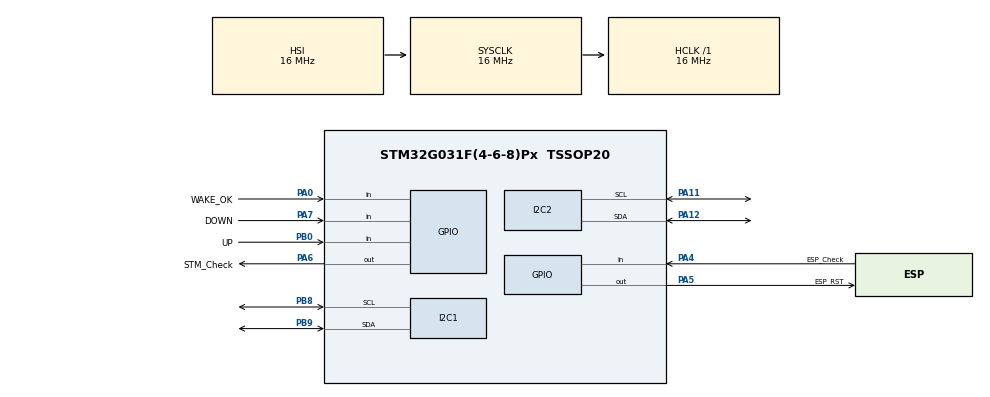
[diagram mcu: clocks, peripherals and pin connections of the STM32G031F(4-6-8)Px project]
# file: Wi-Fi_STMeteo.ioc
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I2C1.Timing=0x00503D58
I2C2.Timing=0x00503D58
Mcu.Family=STM32G0
Mcu.Name=STM32G031F(4-6-8)Px
Mcu.Package=TSSOP20
PA0.GPIO_Label=WAKE_OK
PA0.GPIO_PuPd=GPIO_PULLUP
PA0.Signal=GPIO_Input
PA11\ [PA9].GPIO_Speed=GPIO_SPEED_FREQ_HIGH
PA11\ [PA9].Mode=I2C
PA11\ [PA9].Signal=I2C2_SCL
PA12\ [PA10].GPIO_Speed=GPIO_SPEED_FREQ_HIGH
PA12\ [PA10].Mode=I2C
PA12\ [PA10].Signal=I2C2_SDA
PA13.Mode=Serial_Wire
PA13.Signal=SYS_SWDIO
PA14-BOOT0.Mode=Serial_Wire
PA14-BOOT0.Signal=SYS_SWCLK
PA14-BOOT0__PA15.StandardMode=true
PA4.GPIO_Label=ESP_Check
PA4.GPIO_PuPd=GPIO_PULLDOWN
PA4.Signal=GPIO_Input
PA5.GPIO_Label=ESP_RST
PA5.GPIO_ModeDefaultOutputPP=GPIO_MODE_OUTPUT_PP
PA5.GPIO_PuPd=GPIO_PULLDOWN
PA5.GPIO_Speed=GPIO_SPEED_FREQ_VERY_HIGH
PA5.Signal=GPIO_Output
PA6.GPIO_Label=STM_Check
PA6.GPIO_Speed=GPIO_SPEED_FREQ_VERY_HIGH
PA6.Signal=GPIO_Output
PA7.GPIO_Label=DOWN
PA7.GPIO_PuPd=GPIO_PULLUP
PA7.Signal=GPIO_Input
PB0.GPIO_Label=UP
PB0.GPIO_PuPd=GPIO_PULLUP
PB0.Signal=GPIO_Input
PB0__PB1__PB2__PA8.StandardMode=true
PB3__PB4__PB5__PB6.StandardMode=true
PB7__PB8.StandardMode=true
PB8.GPIO_Speed=GPIO_SPEED_FREQ_HIGH
PB8.Mode=I2C
PB8.Signal=I2C1_SCL
PB9.GPIO_Speed=GPIO_SPEED_FREQ_HIGH
PB9.Mode=I2C
PB9.Signal=I2C1_SDA
PC14-OSC32_IN\ (PC14)__PB9.StandardMode=true
ProjectManager.HeapSize=0x200
ProjectManager.StackSize=0x400
ProjectManager.TargetToolchain=STM32CubeIDE
RCC.ADCFreq_Value=16000000
RCC.AHBFreq_Value=16000000
RCC.CortexFreq_Value=16000000
RCC.EXTERNAL_CLOCK_VALUE=12288000
RCC.HCLKFreq_Value=16000000
RCC.HSE_VALUE=8000000
RCC.HSI_VALUE=16000000
RCC.LSE_VALUE=32768
RCC.PLLQ=RCC_PLLQ_DIV4
RCC.SYSCLKFreq_VALUE=16000000
RCC.VCOOutputFreq_Value=128000000
board=custom

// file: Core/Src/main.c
/* USER CODE BEGIN Header */
/**
 ******************************************************************************
 * @file           : main.c
 * @brief          : Main program body
 * @author		   : Morshu8800
 ******************************************************************************
 * @attention
 *
 * Copyright (c) 2025 STMicroelectronics.
 * All rights reserved.
 *
 * This software is licensed under terms that can be found in the LICENSE file
 * in the root directory of this software component.
 * If no LICENSE file comes with this software, it is provided AS-IS.
 *
 ******************************************************************************
 */
/* USER CODE END Header */
#include "main.h"

/* USER CODE BEGIN Includes */
#include <stdbool.h>
#include <string.h>
#include <strings.h>
#include <math.h>
#include "LCD1602.h"
#include "DS3231.h"
#include "sht3x.h"
#include "BMPXX80.h"
#include "rcc.h"
#include "uart.h"
#include "timers.h"

/* USER CODE END Includes */

I2C_HandleTypeDef hi2c1;
I2C_HandleTypeDef hi2c2;

/* USER CODE BEGIN PV */
uint32_t SystemCoreClock = 16000000UL;

/*const uint8_t Connect_online[8] = { 0x1C, 0x1C, 0x08, 0x0C, 0x0E, 0x0F, 0x0F,
 0x0F };

 const uint8_t Connect_offline[8] = { 0x1C, 0x1C, 0x08, 0x08, 0x08, 0x0D, 0x0A,
 0x0D };
 const uint8_t Connect_insettings[8] = { 0x1C, 0x1C, 0x0A, 0x0D, 0x09, 0x0A,
 0x08, 0x0A };
 const uint8_t Connect_restarting[8] = { 0x1C, 0x1C, 0x08, 0x08, 0x08, 0x0F,
 0x0D, 0x0F };*/
const uint8_t H[8] = { 0x1F, 0x1F, 0x1F, 0x00, 0x00, 0x00, 0x00, 0x00 };
const uint8_t L[8] = { 0x00, 0x00, 0x00, 0x00, 0x00, 0x1F, 0x1F, 0x1F };
const uint8_t LH[8] = { 0x1F, 0x1F, 0x00, 0x00, 0x00, 0x00, 0x1F, 0x1F };
const uint8_t Copyright[8] = { 0x0A, 0x11, 0x1D, 0x19, 0x19, 0x1D, 0x11, 0x0A };
bool connected = false, con_atempt = false, insettings =
false, con_rest = false, get_pres = false, get_temp = false, get_humi = false,
		get_all = false, change_dot = false, sleep = false, menu = false;

bool clear_flag = false, time_settings = false, hour_set = false, minute_set =
false, day_set = false, month_set = false, year_set = false, dow_set =
false, time_set = false, date_set = false, get_time = false;

bool led_flag = false, uart_flag = true, about = false, misc = false, wifi_on =
true;

char GET_COMAND[120] = { 0, }, DEB[120] = { 0, }, MES[120] = { 0, };
char *WEEK[7] = { "MONDAY", "TUESDAY", "WEDNESDAY", "THURSDAY", "FRIDAY",
		"SATURDAY", "SUNDAY" };
char *WEK[7] = { "MON", "TUE", "WED", "THU", "FRI", "SAT", "SUN" };
int_fast8_t menu_page = 0, main_page = 0, menu_pos = 0, time_pos = 0, date_pos =
		0, settings_pos = 0, about_pos = 0, misc_pos = 0;
uint32_t change_page_time = 0, Sleep_time = 0, button_time = 0, mes_time = 0,
		backl_time = 0, led_con_time = 0, led_connected_time = 0,
		close_men_time = 0, button_settings_time = 0, display_time = 0;
int_fast8_t Hour = 0, Minute = 0, Day = 1, Month = 1, Dow = 1;
int_fast16_t Year = 2000;
int_fast8_t newmin = -1;

sht3x_handle_t handle = { .i2c_handle = &hi2c2, .device_address =
SHT3X_I2C_DEVICE_ADDRESS_ADDR_PIN_LOW };
/* USER CODE END PV */

void SystemClock_Config(void);
static void MX_GPIO_Init(void);
static void MX_I2C1_Init(void);
static void MX_I2C2_Init(void);
/* USER CODE BEGIN PFP */
//extern void CMSIS_Clock_Config(void);
//extern void CMSIS_USART_Init(void);
//extern void CMSIS_TIM2_CH2_Init(void);
void Print_Time(void);
void Draw_Dig(uint_fast8_t x, uint_fast8_t y, uint_fast8_t dig);
void Check_Mes(void);
void Check_Con(void);
void Startup(void);
void Load_Clock_seg(void);
//void Load_Con_seg(void);
void Print_Date(void);
void Print_Meteo(void);
//void Sleep(void);
void Backlight_change(void);
void Controls(void);
void Display_menu(void);
void Menu_Controls(void);
void Display_Settings(void);
void Settings_Controls(void);
void Display_About(void);
void About_controls(void);
void Display_Misc(void);
void Misc_controls(void);
/* USER CODE END PFP */

/* USER CODE BEGIN 0 */
void Startup(void) {
	//HAL_TIM_PWM_Start(&htim3, TIM_CHANNEL_1);
	//TIM3->CCR1 = 256;
	TIM2->CCR2 = 64;
	TIM3->CCR1 = 256;
	//CMSIS_TIM2_CH2_PWM_Start();
	CMSIS_TIM3_CH1_PWM_Start();
	DS3231_Init(&hi2c1);
	HAL_Delay(100);
	DS3231_EnableOscillator(DS3231_ENABLED);
	if (!LCD_Connect_test()) {
		NVIC_SystemReset();
	}
	LCD_Init();
	LCD_Clear();
	LCD_CreateChar((uint8_t*) Copyright, 4);
	LCD_SetCursor(0, 0);
	LCD_PrintString("Wi-Fi STMeteo by");
	LCD_SetCursor(0, 1);
	LCD_PrintString("Morshu8800 ");
	LCD_PrintMyChar(4);
	LCD_PrintString("2025");
	HAL_Delay(2000);
	LCD_Clear();
	BMP280_Init(&hi2c2, BMP280_TEMPERATURE_16BIT, BMP280_HIGHRES,
	BMP280_FORCEDMODE);
	BMP280_SetConfig( BMP280_STANDBY_MS_125, BMP280_FILTER_X2);
	if (!sht3x_init(&handle)) {
		for (uint8_t i = 0; i < 5; i++) {
			if (sht3x_init(&handle))
				break;
			else {
				HAL_Delay(100);
				continue;
			}
		}
		if (!sht3x_init(&handle)) {
			while (1)
				NVIC_SystemReset();
		}
	}
	if (wifi_on)
		GPIOA->BSRR = GPIO_BSRR_BS5; //HAL_GPIO_WritePin(ESP_RST_GPIO_Port, ESP_RST_Pin, 1);
	GPIOA->BSRR = GPIO_BSRR_BS6; //HAL_GPIO_WritePin(stm_check_GPIO_Port, stm_check_Pin, 1);
	//Load_Con_seg();
	Load_Clock_seg();
	//HAL_UART_Receive_IT(&huart2, (uint8_t*) GET_COMAND, 1);
	/*HAL_UARTEx_ReceiveToIdle_IT(&huart2, (uint8_t*) GET_COMAND,
	 sizeof(GET_COMAND));*/
	HAL_Delay(1500);
	if (READ_BIT(GPIOA->IDR, GPIO_IDR_ID4) == 1) {
		sprintf(MES, "CONC;");
		//memcpy(DEB, MES, sizeof(DEB));
		uart_flag = CMSIS_USART_Transmit(USART2, (uint8_t*) MES, sizeof(MES),
				100);
//		HAL_UART_Transmit(&huart2, (uint8_t*) MES, sizeof(MES), 150);
		memset(MES, 0, sizeof(MES));
	}
}
void Print_Time(void) {
	static int_fast8_t second, newsec = -1, /*dig1, dig2, dig3, dig4,*/hour,
			minute;
	second = DS3231_GetSecond();
	if (newsec != second) {
		newsec = second;
		change_dot = !change_dot;
		hour = DS3231_GetHour();
		minute = DS3231_GetMinute();
		if (newmin != minute) {
			newmin = minute;
			Draw_Dig(0, 0, hour * 0.1);
			Draw_Dig(4, 0, hour % 10);
			Draw_Dig(9, 0, minute * 0.1);
			Draw_Dig(13, 0, minute % 10);
		}

		if (change_dot) {
			LCD_SetCursor(7, 1);
			LCD_SendByte(111, 1);
			LCD_SetCursor(8, 0);
			LCD_SendByte(111, 1);
		} else if (!change_dot) {
			LCD_SetCursor(7, 1);
			LCD_PrintString(" ");
			LCD_SetCursor(8, 0);
			LCD_PrintString(" ");
		}
		/*LCD1_CreateChar(UP, 1);
		 LCD1_CreateChar(UPHI, 2);
		 LCD1_CreateChar(UPDOWN, 3);
		 LCD1_CreateChar(FULL, 4);
		 LCD1_CreateChar(DOWNHI, 5);
		 LCD1_CreateChar(DOWN, 6);

		 LCD_CreateChar((uint8_t*) F, 4);
		 LCD_CreateChar((uint8_t*) LH, 5);
		 LCD_CreateChar((uint8_t*) H, 6);
		 LCD_CreateChar((uint8_t*) L, 7);*/
	}
}
void Draw_Dig(uint_fast8_t x, uint_fast8_t y, uint_fast8_t dig) {
	switch (dig) {
	case 0:
		LCD_SetCursor(x, y);
		LCD_SendByte(255, 1); //LCD_PrintMyChar(4);
		LCD_PrintMyChar(6);
		LCD_SendByte(255, 1); //LCD_PrintMyChar(4);
		LCD_SetCursor(x, y + 1);
		LCD_SendByte(255, 1); //LCD_PrintMyChar(4);
		LCD_PrintMyChar(7);
		LCD_SendByte(255, 1); //LCD_PrintMyChar(4);
		break;
	case 1:
		LCD_SetCursor(x, y);
		LCD_PrintMyChar(6);
		LCD_SendByte(255, 1); //LCD_PrintMyChar(4);
		LCD_PrintString(" ");
		LCD_SetCursor(x, y + 1);
		LCD_PrintMyChar(7);
		LCD_SendByte(255, 1); //LCD_PrintMyChar(4);
		LCD_PrintMyChar(7);
		break;
	case 2:
		LCD_SetCursor(x, y);
		LCD_PrintMyChar(5);
		LCD_PrintMyChar(5);
		LCD_SendByte(255, 1); //LCD_PrintMyChar(4);
		LCD_SetCursor(x, y + 1);
		LCD_SendByte(255, 1); //LCD_PrintMyChar(4);
		LCD_PrintMyChar(7);
		LCD_PrintMyChar(7);
		break;
	case 3:
		LCD_SetCursor(x, y);
		LCD_PrintMyChar(6);
		LCD_PrintMyChar(5);
		LCD_SendByte(255, 1); //LCD_PrintMyChar(4);
		LCD_SetCursor(x, y + 1);
		LCD_PrintMyChar(7);
		LCD_PrintMyChar(7);
		LCD_SendByte(255, 1); //LCD_PrintMyChar(4);
		break;
	case 4:
		LCD_SetCursor(x, y);
		LCD_SendByte(255, 1); //LCD_PrintMyChar(4);
		LCD_PrintMyChar(7);
		LCD_SendByte(255, 1); //LCD_PrintMyChar(4);
		LCD_SetCursor(x, y + 1);
		LCD_PrintString(" ");
		LCD_PrintString(" ");
		LCD_SendByte(255, 1); //LCD_PrintMyChar(4);
		break;
	case 5:
		LCD_SetCursor(x, y);
		LCD_SendByte(255, 1); //LCD_PrintMyChar(4);
		LCD_PrintMyChar(5);
		LCD_PrintMyChar(5);
		LCD_SetCursor(x, y + 1);
		LCD_PrintMyChar(7);
		LCD_PrintMyChar(7);
		LCD_SendByte(255, 1); //LCD_PrintMyChar(4);
		break;
	case 6:
		LCD_SetCursor(x, y);
		LCD_SendByte(255, 1); //LCD_PrintMyChar(4);
		LCD_PrintMyChar(5);
		LCD_PrintMyChar(5);
		LCD_SetCursor(x, y + 1);
		LCD_SendByte(255, 1); //LCD_PrintMyChar(4);
		LCD_PrintMyChar(7);
		LCD_SendByte(255, 1); //LCD_PrintMyChar(4);
		break;
	case 7:
		LCD_SetCursor(x, y);
		LCD_PrintMyChar(6);
		LCD_PrintMyChar(6);
		LCD_SendByte(255, 1); //LCD_PrintMyChar(4);
		LCD_SetCursor(x, y + 1);
		LCD_PrintString(" ");
		LCD_PrintString(" ");
		LCD_SendByte(255, 1); //LCD_PrintMyChar(4);
		break;
	case 8:
		LCD_SetCursor(x, y);
		LCD_SendByte(255, 1); //LCD_PrintMyChar(4);
		LCD_PrintMyChar(5);
		LCD_SendByte(255, 1); //LCD_PrintMyChar(4);
		LCD_SetCursor(x, y + 1);
		LCD_SendByte(255, 1); //LCD_PrintMyChar(4);
		LCD_PrintMyChar(7);
		LCD_SendByte(255, 1); //LCD_PrintMyChar(4);
		break;
	case 9:
		LCD_SetCursor(x, y);
		LCD_SendByte(255, 1); //LCD_PrintMyChar(4);
		LCD_PrintMyChar(5);
		LCD_SendByte(255, 1); //LCD_PrintMyChar(4);
		LCD_SetCursor(x, y + 1);
		LCD_PrintMyChar(7);
		LCD_PrintMyChar(7);
		LCD_SendByte(255, 1); //LCD_PrintMyChar(4);
		break;
	}
}

void Check_Mes(void) {
	if (get_pres) {
		float pr;
		uint32_t pressu;
		pr = (float) BMP280_ReadPressure();
		pr = pr * 0.0075006;
		pressu = (uint32_t) pr;
		sprintf(MES, "Давление: %lu мм.Рт.Ст.;", pressu);
		//memcpy(DEB, MES, sizeof(DEB));
		uart_flag = CMSIS_USART_Transmit(USART2, (uint8_t*) MES, sizeof(MES),
				100);
		//HAL_UART_Transmit(&huart2, (uint8_t*) MES, sizeof(MES), 150);
		memset(MES, 0, sizeof(MES));
		get_pres = false;
	}
	if (get_temp) {
		float temp, tempfl, tempdec, humidity;
		int_fast8_t tempfdec, tempu;
		sht3x_read_temperature_and_humidity(&handle, &temp, &humidity);
		tempfl = modff(temp, &tempdec);
		tempfl = tempfl * 100;
		tempfdec = (int_fast8_t) tempfl;
		tempu = (int_fast8_t) tempdec;
		sprintf(MES, "Температура: %d.%d `c;", tempu, tempfdec);
		//memcpy(DEB, MES, sizeof(DEB));
		uart_flag = CMSIS_USART_Transmit(USART2, (uint8_t*) MES, sizeof(MES),
				100);
		//HAL_UART_Transmit(&huart2, (uint8_t*) MES, sizeof(MES), 150);
		memset(MES, 0, sizeof(MES));
		get_temp = false;
	}
	if (get_humi) {
		uint_fast8_t humid = 0;
		float shttemp, humidity;
		sht3x_read_temperature_and_humidity(&handle, &shttemp, &humidity);
		humid = (uint_fast8_t) humidity;
		sprintf(MES, "Влажность: %d %%;", humid);
		//memcpy(DEB, MES, sizeof(DEB));
		uart_flag = CMSIS_USART_Transmit(USART2, (uint8_t*) MES, sizeof(MES),
				100);
		//HAL_UART_Transmit(&huart2, (uint8_t*) MES, sizeof(MES), 150);
		memset(MES, 0, sizeof(MES));
		get_humi = false;
	}
	/*if (get_taro) {
	 sprintf(MES, "Rain: %d %%;", taro);
	 //memcpy(DEB, MES, sizeof(DEB));
	 HAL_UART_Transmit(&huart2, (uint8_t*) MES, sizeof(MES), 150);
	 memset(MES, 0, sizeof(MES));
	 get_taro = false;
	 }  НЕВОЗМОЖНО СОЗДАТЬ ПО ПРИЧИНЕ НЕСТАБИЛЬНОСТИ И ВЫСОКОГО ЭНЕРГОПОТРЕБЛЕНИЯ!!!*/
	if (get_all) {
		float pr;
		uint32_t pressu;
		uint_fast8_t humid = 0;
		float temp, tempfl, tempdec, humidity;
		int_fast8_t tempfdec, tempu;
		pr = (float) BMP280_ReadPressure();
		pr = pr * 0.0075006;
		pressu = (uint32_t) pr;
		sht3x_read_temperature_and_humidity(&handle, &temp, &humidity);
		tempfl = modff(temp, &tempdec);
		tempfl = tempfl * 100;
		tempfdec = (int_fast8_t) tempfl;
		tempu = (int_fast8_t) tempdec;
		humid = (uint_fast8_t) humidity;
		sprintf(MES,
				"Температура: %d.%d `c\r\nВлажность: %d %%\r\nДавление: %lu мм.Рт.Ст.;",
				tempu, tempfdec, humid, pressu);
		//memcpy(DEB, MES, sizeof(DEB));
		uart_flag = CMSIS_USART_Transmit(USART2, (uint8_t*) MES, sizeof(MES),
				100);
		//HAL_UART_Transmit(&huart2, (uint8_t*) MES, sizeof(MES), 150);
		memset(MES, 0, sizeof(MES));
		get_all = false;
	}
}
void Check_Con(void) {
	if (!connected && !insettings && !con_rest && !sleep /*&& !change_dot && main_page == 0
	 && !menu*/) {
		/*LCD_SetCursor(8, 0);
		 LCD_PrintMyChar(2);
		 LCD_SetCursor(7, 1);
		 LCD_PrintString(" ");*/

		CMSIS_TIM2_CH2_PWM_Stop();
		//LED_OFF
		//GPIOA->BSRR = GPIO_BSRR_BR1;

	} /*else if (!connected && !insettings && !con_rest && change_dot
	 && main_page == 0 && !menu) {
	 LCD_SetCursor(7, 1);
	 LCD_PrintMyChar(2);
	 LCD_SetCursor(8, 0);
	 LCD_PrintString(" ");
	 }*/
	if (insettings && !con_rest && !sleep
			&& !connected /*&& !change_dot && main_page == 0 && !menu*/) {
		/*LCD_SetCursor(8, 0);
		 LCD_PrintMyChar(1);
		 LCD_SetCursor(7, 1);
		 LCD_PrintString(" ");*/
		//insettings = false;
		if (HAL_GetTick() - led_con_time >= 1500) {
			led_con_time = HAL_GetTick();
			led_flag = !led_flag;
		}
		if (!led_flag)
			CMSIS_TIM2_CH2_PWM_Stop();
//			LED_OFF
		//GPIOA->BSRR = GPIO_BSRR_BR1;
		else if (led_flag)
			CMSIS_TIM2_CH2_PWM_Start();
//			LED_ON
		//GPIOA->BSRR = GPIO_BSRR_BS1;

	} /*else if (insettings && !con_rest && change_dot && main_page == 0
	 && !menu) {
	 LCD_SetCursor(7, 1);
	 LCD_PrintMyChar(1);
	 LCD_SetCursor(8, 0);
	 LCD_PrintString(" ");
	 //insettings = false;
	 }*/
	if (connected && !con_rest && !insettings && !sleep /*&& !change_dot && main_page == 0
	 && !menu*/) {
		/*LCD_SetCursor(8, 0);
		 LCD_PrintMyChar(0);
		 LCD_SetCursor(7, 1);
		 LCD_PrintString(" ");*/

		if (HAL_GetTick() - led_connected_time >= 500) {
			led_connected_time = HAL_GetTick();
			led_flag = !led_flag;
		}
		if (!led_flag)
			CMSIS_TIM2_CH2_PWM_Stop();
//			LED_OFF
		//GPIOA->BSRR = GPIO_BSRR_BR1;
		else if (led_flag)
			CMSIS_TIM2_CH2_PWM_Start();
//			LED_ON
		//GPIOA->BSRR = GPIO_BSRR_BS1;

		//connected = false;
	} /*else if (connected && !con_rest && !insettings && change_dot
	 && main_page == 0 && !menu) {
	 LCD_SetCursor(7, 1);
	 LCD_PrintMyChar(0);
	 LCD_SetCursor(8, 0);
	 LCD_PrintString(" ");
	 //connected = false;
	 }*/
	if (con_rest && !sleep
			&& !connected /*&& !change_dot && main_page == 0 && !menu*/) {
		CMSIS_TIM2_CH2_PWM_Start();
		//LED_ON
		//GPIOA->BSRR = GPIO_BSRR_BS1;

		/*LCD_SetCursor(8, 0);
		 LCD_PrintMyChar(3);
		 LCD_SetCursor(7, 1);
		 LCD_PrintString(" ");*/
	} /*else if (con_rest && change_dot && main_page == 0 && !menu) {
	 LCD_SetCursor(7, 1);
	 LCD_PrintMyChar(3);
	 LCD_SetCursor(8, 0);
	 LCD_PrintString(" ");
	 }*/
	if (READ_BIT(GPIOA->IDR, GPIO_IDR_ID4) == 0) {
		connected = false;
		insettings = false;
	}
	/*if ((!connected && !insettings && !con_rest && main_page == 1 && !menu)
	 || (!connected && !insettings && !con_rest && main_page == 2
	 && !menu)) {
	 LCD_SetCursor(0, 0);
	 LCD_PrintMyChar(2);
	 }
	 if ((insettings && !con_rest && main_page == 1 && !menu)
	 || (insettings && !con_rest && main_page == 2 && !menu)) {
	 LCD_SetCursor(0, 0);
	 LCD_PrintMyChar(1);
	 }
	 if ((connected && !con_rest && !insettings && main_page == 1 && !menu)
	 || (connected && !con_rest && !insettings && main_page == 2 && !menu)) {
	 LCD_SetCursor(0, 0);
	 LCD_PrintMyChar(0);
	 }
	 if ((con_rest && main_page == 1 && !menu)
	 || (con_rest && main_page == 2 && !menu)) {
	 LCD_SetCursor(0, 0);
	 LCD_PrintMyChar(3);
	 }*/
	if (sleep) {
		CMSIS_TIM2_CH2_PWM_Stop();
		//LED_OFF
		//GPIOA->BSRR = GPIO_BSRR_BR1;
	}
}
void Load_Clock_seg(void) {
	LCD_CreateChar((uint8_t*) LH, 5);
	LCD_CreateChar((uint8_t*) H, 6);
	LCD_CreateChar((uint8_t*) L, 7);
}
/*void Load_Con_seg(void) {
 LCD_CreateChar((uint8_t*) Connect_online, 0);
 LCD_CreateChar((uint8_t*) Connect_insettings, 1);
 LCD_CreateChar((uint8_t*) Connect_offline, 2);
 LCD_CreateChar((uint8_t*) Connect_restarting, 3);
 }*/
void Print_Date(void) {
	static int_fast8_t day, week, month;
	int_fast8_t newday = -1;
	static uint16_t year;
	static char DATE[20];
	day = DS3231_GetDate();
	if (newday != day) {
		newday = day;
		month = DS3231_GetMonth();
		year = DS3231_GetYear();
		week = DS3231_GetDayOfWeek();
		sprintf(DATE, "%02d/%02d/%04u", day, month, year);
		LCD_SetCursor(2, 0);
		LCD_PrintString(DATE);
		switch (week) {
		case 1:
			LCD_SetCursor(2, 1);
			LCD_PrintString(WEEK[0]);
			break;
		case 2:
			LCD_SetCursor(2, 1);
			LCD_PrintString(WEEK[1]);
			break;
		case 3:
			LCD_SetCursor(2, 1);
			LCD_PrintString(WEEK[2]);
			break;
		case 4:
			LCD_SetCursor(2, 1);
			LCD_PrintString(WEEK[3]);
			break;
		case 5:
			LCD_SetCursor(2, 1);
			LCD_PrintString(WEEK[4]);
			break;
		case 6:
			LCD_SetCursor(2, 1);
			LCD_PrintString(WEEK[5]);
			break;
		case 7:
			LCD_SetCursor(2, 1);
			LCD_PrintString(WEEK[6]);
			break;
		}
	}
}
void Print_Meteo(void) {
	static float pr;
	static char TEMP[10], HUMI[10], PRES[10];
	static uint32_t pressu;
	static uint_fast8_t humid = 0;
	static float temp, tempfl, tempdec, humidity;
	static int_fast8_t tempfdec, tempu;
	if (HAL_GetTick() - mes_time >= 500) {
		mes_time = HAL_GetTick();
		pr = (float) BMP280_ReadPressure();
		pr = pr * 0.0075006;
		pressu = (uint32_t) pr;
		sht3x_read_temperature_and_humidity(&handle, &temp, &humidity);
		tempfl = modff(temp, &tempdec);
		tempfl = tempfl * 100;
		tempfdec = (int_fast8_t) tempfl;
		tempu = (int_fast8_t) tempdec;
		humid = (uint_fast8_t) humidity;
		sprintf(TEMP, "%02d.%02d", tempu, tempfdec);
		sprintf(HUMI, "H:%02d%%", humid);
		sprintf(PRES, "%lu mmHg", pressu);
		LCD_SetCursor(2, 0);
		LCD_PrintString(TEMP);
		LCD_SendByte(223, 1);
		LCD_PrintString("C");
		LCD_SetCursor(10, 0);
		LCD_PrintString(HUMI);
		LCD_SetCursor(2, 1);
		LCD_PrintString(PRES);
	}

}
//backlight on
void Backlight_change(void) {
	if (HAL_GetTick() - backl_time > 60000) {
		sleep = true;
		CMSIS_TIM3_CH1_PWM_Stop();
		//HAL_TIM_PWM_Stop(&htim3, TIM_CHANNEL_1);
	}
	if (READ_BIT(GPIOA->IDR, GPIO_IDR_ID0) == 0 && sleep == true
			&& HAL_GetTick() - button_time > 150) {
		sleep = false;
		CMSIS_TIM3_CH1_PWM_Start();
		//HAL_TIM_PWM_Start(&htim3, TIM_CHANNEL_1);
		backl_time = HAL_GetTick();
		button_time = HAL_GetTick();
		HAL_Delay(200);
	}
}
//enter in menu, when ok/wake button pressing
void Controls(void) {
	if (READ_BIT(GPIOA->IDR, GPIO_IDR_ID0) == 0 && sleep == false
			&& HAL_GetTick() - button_time > 150) {
		button_time = HAL_GetTick();
		backl_time = HAL_GetTick();
		change_page_time = HAL_GetTick();
		close_men_time = HAL_GetTick();
		menu = true;
		newmin = -1;
		//clear_flag = true;
		HAL_Delay(50);
		LCD_Clear();
	}
}
//display menu
void Display_menu(void) {
	switch (menu_pos) {
	case 0:
		LCD_SetCursor(0, 0);
		LCD_SendByte(126, 1);
		LCD_SetCursor(0, 1);
		LCD_PrintString(" ");
		LCD_SetCursor(1, 0);
		LCD_PrintString("Time Settings ");
		LCD_SetCursor(1, 1);
		LCD_PrintString("Restart MCU   ");
		break;
	case 1:
		LCD_SetCursor(0, 1);
		LCD_SendByte(126, 1);
		LCD_SetCursor(0, 0);
		LCD_PrintString(" ");
		LCD_SetCursor(1, 0);
		LCD_PrintString("Time Settings ");
		LCD_SetCursor(1, 1);
		LCD_PrintString("Restart MCU   ");
		break;
	case 2:
		LCD_SetCursor(0, 1);
		LCD_SendByte(126, 1);
		LCD_SetCursor(0, 0);
		LCD_PrintString(" ");
		LCD_SetCursor(1, 0);
		LCD_PrintString("Restart MCU   ");
		LCD_SetCursor(1, 1);
		LCD_PrintString("Other settings");
		break;
	case 3:
		LCD_SetCursor(0, 1);
		LCD_SendByte(126, 1);
		LCD_SetCursor(0, 0);
		LCD_PrintString(" ");
		LCD_SetCursor(1, 0);
		LCD_PrintString("Other settings");
		LCD_SetCursor(1, 1);
		LCD_PrintString("About         ");
		break;
	case 4:
		LCD_SetCursor(0, 1);
		LCD_SendByte(126, 1);
		LCD_SetCursor(0, 0);
		LCD_PrintString(" ");
		LCD_SetCursor(1, 0);
		LCD_PrintString("About         ");
		LCD_SetCursor(1, 1);
		LCD_PrintString("Exit menu     ");
		break;
	}
}
//controls in menu
void Menu_Controls(void) {
	if (READ_BIT(GPIOA->IDR, GPIO_IDR_ID7) == 0 && sleep == false
			&& HAL_GetTick() - button_time > 100) {
		button_time = HAL_GetTick();
		close_men_time = HAL_GetTick();
		menu_pos++;

	}
	if (READ_BIT(GPIOB->IDR, GPIO_IDR_ID0) == 0 && sleep == false
			&& HAL_GetTick() - button_time > 100) {
		button_time = HAL_GetTick();
		close_men_time = HAL_GetTick();
		menu_pos--;

	}

	if (READ_BIT(GPIOA->IDR, GPIO_IDR_ID0) == 0 && sleep == false
			&& HAL_GetTick() - button_time > 100) {
		button_time = HAL_GetTick();
		close_men_time = HAL_GetTick();
		switch (menu_pos) {
		case 0:
			time_settings = true;
			get_time = true;
			LCD_Clear();
			break;
		case 1:
			NVIC_SystemReset();
			break;
		case 2:
			misc = true;
			menu_pos = 0;
			HAL_Delay(50);
			LCD_Clear();
			break;
		case 3:
			about = true;
			menu_pos = 0;
			HAL_Delay(50);
			LCD_Clear();
			break;
		case 4:
			backl_time = HAL_GetTick();
			change_page_time = HAL_GetTick();
			menu = false;
			//clear_flag = true;
			menu_pos = 0;
			HAL_Delay(50);
			LCD_Clear();
			break;
		}
	}
	if (menu_pos > 4)
		menu_pos = 4;
	else if (menu_pos < 0)
		menu_pos = 0;
}
//display time & date settings
void Display_Settings(void) {
	static char TIME1[5], TIME2[5], DATE1[5], DATE2[5], DATE3[9];
	if (get_time) {
		Hour = DS3231_GetHour();
		Minute = DS3231_GetMinute();
		Day = DS3231_GetDate();
		Month = DS3231_GetMonth();
		Year = DS3231_GetYear();
		Dow = DS3231_GetDayOfWeek();
		get_time = false;
	}
//	if (HAL_GetTick() - display_time > 10) {
//		display_time = HAL_GetTick();
	sprintf(TIME1, "%02d", Hour);
	sprintf(TIME2, "%02d", Minute);
	sprintf(DATE1, "%02d", Day);
	sprintf(DATE2, "%02d", Month);
	sprintf(DATE3, "%04d", Year);
	LCD_SetCursor(1, 0);
	LCD_PrintString(TIME1);
	LCD_SetCursor(4, 0);
	LCD_PrintString(TIME2);
	LCD_SetCursor(9, 0);
	LCD_PrintString("Ap");
	LCD_SetCursor(13, 0);
	LCD_PrintString("Ex");
	LCD_SetCursor(1, 1);
	LCD_PrintString(DATE1);
	LCD_SetCursor(4, 1);
	LCD_PrintString(DATE2);
	LCD_SetCursor(7, 1);
	LCD_PrintString(DATE3);
	LCD_SetCursor(12, 1);
	switch (Dow) {
	case 1:
		LCD_PrintString(WEK[0]);
		break;
	case 2:
		LCD_PrintString(WEK[1]);
		break;
	case 3:
		LCD_PrintString(WEK[2]);
		break;
	case 4:
		LCD_PrintString(WEK[3]);
		break;
	case 5:
		LCD_PrintString(WEK[4]);
		break;
	case 6:
		LCD_PrintString(WEK[5]);
		break;
	case 7:
		LCD_PrintString(WEK[6]);
		break;
	}

	switch (time_pos) {
	case 0:
		LCD_SetCursor(3, 0);
		LCD_PrintString(":");
		break;
	case 1:
		LCD_SetCursor(6, 0);
		LCD_PrintString(" ");
		if (!hour_set) {
			LCD_SetCursor(3, 0);
			LCD_SendByte(127, 1);
		} else if (hour_set) {
			LCD_SetCursor(3, 0);
			LCD_SendByte(63, 1);
		}
		break;
	case 2:
		LCD_SetCursor(3, 0);
		LCD_PrintString(":");
		if (!minute_set) {
			LCD_SetCursor(6, 0);
			LCD_SendByte(127, 1);
		} else if (minute_set) {
			LCD_SetCursor(6, 0);
			LCD_SendByte(63, 1);
		}
		break;
	}

	switch (settings_pos) {
	case 0:
		if (!time_set) {
			LCD_SetCursor(0, 0);
			LCD_SendByte(126, 1);
		} else if (time_set) {
			LCD_SetCursor(0, 0);
			LCD_SendByte(63, 1);
		}
		LCD_SetCursor(0, 1);
		LCD_PrintString(" ");
		LCD_SetCursor(8, 0);
		LCD_PrintString(" ");
		LCD_SetCursor(12, 0);
		LCD_PrintString(" ");
		break;
	case 1:
		if (!date_set) {
			LCD_SetCursor(0, 1);
			LCD_SendByte(126, 1);
		} else if (date_set) {
			LCD_SetCursor(0, 1);
			LCD_SendByte(63, 1);
		}
		LCD_SetCursor(0, 0);
		LCD_PrintString(" ");
		LCD_SetCursor(8, 0);
		LCD_PrintString(" ");
		LCD_SetCursor(12, 0);
		LCD_PrintString(" ");
		break;
	case 2:
		LCD_SetCursor(0, 0);
		LCD_PrintString(" ");
		LCD_SetCursor(0, 1);
		LCD_PrintString(" ");
		LCD_SetCursor(8, 0);
		LCD_SendByte(126, 1);
		LCD_SetCursor(12, 0);
		LCD_PrintString(" ");
		break;
	case 3:
		LCD_SetCursor(0, 0);
		LCD_PrintString(" ");
		LCD_SetCursor(0, 1);
		LCD_PrintString(" ");
		LCD_SetCursor(8, 0);
		LCD_PrintString(" ");
		LCD_SetCursor(12, 0);
		LCD_SendByte(126, 1);
		break;
	}

	switch (date_pos) {
	case 0:
		LCD_SetCursor(3, 1);
		LCD_PrintString("/");
		LCD_SetCursor(6, 1);
		LCD_PrintString("/");
		LCD_SetCursor(11, 1);
		LCD_PrintString(",");
		LCD_SetCursor(15, 1);
		LCD_PrintString(" ");
		break;
	case 1:
		if (!day_set) {
			LCD_SetCursor(3, 1);
			LCD_SendByte(127, 1);
		} else if (day_set) {
			LCD_SetCursor(3, 1);
			LCD_SendByte(63, 1);
		}
		LCD_SetCursor(6, 1);
		LCD_PrintString("/");
		LCD_SetCursor(11, 1);
		LCD_PrintString(",");
		LCD_SetCursor(15, 1);
		LCD_PrintString(" ");
		break;
	case 2:
		LCD_SetCursor(3, 1);
		LCD_PrintString("/");
		if (!month_set) {
			LCD_SetCursor(6, 1);
			LCD_SendByte(127, 1);
		} else if (month_set) {
			LCD_SetCursor(6, 1);
			LCD_SendByte(63, 1);
		}
		LCD_SetCursor(11, 1);
		LCD_PrintString(",");
		LCD_SetCursor(15, 1);
		LCD_PrintString(" ");
		break;
	case 3:
		LCD_SetCursor(3, 1);
		LCD_PrintString("/");
		LCD_SetCursor(6, 1);
		LCD_PrintString("/");
		if (!year_set) {
			LCD_SetCursor(11, 1);
			LCD_SendByte(127, 1);
		} else if (year_set) {
			LCD_SetCursor(11, 1);
			LCD_SendByte(63, 1);
		}
		LCD_SetCursor(15, 1);
		LCD_PrintString(" ");
		break;
	case 4:
		LCD_SetCursor(3, 1);
		LCD_PrintString("/");
		LCD_SetCursor(6, 1);
		LCD_PrintString("/");
		LCD_SetCursor(11, 1);
		LCD_PrintString(",");
		if (!dow_set) {
			LCD_SetCursor(15, 1);
			LCD_SendByte(127, 1);
		} else if (dow_set) {
			LCD_SetCursor(15, 1);
			LCD_SendByte(63, 1);
		}
		break;
	}
//	}
}
//controls in time & date settings
void Settings_Controls(void) {
	if (READ_BIT(GPIOA->IDR, GPIO_IDR_ID7) == 0
			&& HAL_GetTick() - button_settings_time > 150 && !time_set
			&& !date_set) {
		button_settings_time = HAL_GetTick();
		close_men_time = HAL_GetTick();
		settings_pos++;

	}
	if (READ_BIT(GPIOB->IDR, GPIO_IDR_ID0) == 0
			&& HAL_GetTick() - button_settings_time > 150 && !time_set
			&& !date_set) {
		button_settings_time = HAL_GetTick();
		close_men_time = HAL_GetTick();
		settings_pos--;

	}
	if (READ_BIT(GPIOA->IDR, GPIO_IDR_ID0) == 0
			&& HAL_GetTick() - button_settings_time > 150) {
		button_settings_time = HAL_GetTick();
		close_men_time = HAL_GetTick();
		switch (settings_pos) {
		case 0:
			if (time_pos == 0)
				time_set = !time_set;
			HAL_Delay(50);
			break;
		case 1:
			if (date_pos == 0)
				date_set = !date_set;
			HAL_Delay(50);
			break;
		case 2:
			DS3231_SetFullTime(Hour, Minute, 0);
			DS3231_SetFullDate(Day, Month, Dow, Year);
			DS3231_EnableOscillator(DS3231_ENABLED);
			HAL_Delay(50);
			LCD_Clear();
			break;
		case 3:
			time_settings = false;
			settings_pos = 0;
			time_pos = 0;
			date_pos = 0;
			HAL_Delay(50);
			LCD_Clear();
			break;
		}
		switch (time_pos) {
		case 1:
			if (time_set && !date_set)
				hour_set = !hour_set;
			break;
		case 2:
			if (time_set && !date_set)
				minute_set = !minute_set;
			break;
		}
		switch (date_pos) {
		case 1:
			if (date_set && !time_set)
				day_set = !day_set;
			break;
		case 2:
			if (date_set && !time_set)
				month_set = !month_set;
			break;
		case 3:
			if (date_set && !time_set)
				year_set = !year_set;
			break;
		case 4:
			if (date_set && !time_set)
				dow_set = !dow_set;
			break;
		}
	}
	if (READ_BIT(GPIOA->IDR, GPIO_IDR_ID7) == 0
			&& HAL_GetTick() - button_settings_time > 75) {
		button_settings_time = HAL_GetTick();
		close_men_time = HAL_GetTick();
		if (time_set && !hour_set && !minute_set)
			time_pos++;
		if (date_set && !day_set && !month_set && !year_set && !dow_set)
			date_pos++;
		if (hour_set && !minute_set)
			Hour++;
		if (!hour_set && minute_set)
			Minute++;
		if (day_set && !month_set && !year_set && !dow_set)
			Day++;
		if (!day_set && month_set && !year_set && !dow_set)
			Month++;
		if (!day_set && !month_set && year_set && !dow_set)
			Year++;
		if (!day_set && !month_set && !year_set && dow_set)
			Dow++;
	}

	if (READ_BIT(GPIOB->IDR, GPIO_IDR_ID0) == 0
			&& HAL_GetTick() - button_settings_time > 75) {
		button_settings_time = HAL_GetTick();
		close_men_time = HAL_GetTick();
		if (time_set && !hour_set && !minute_set)
			time_pos--;
		if (date_set && !day_set && !month_set && !year_set && !dow_set)
			date_pos--;
		if (hour_set && !minute_set)
			Hour--;
		if (!hour_set && minute_set)
			Minute--;
		if (day_set && !month_set && !year_set && !dow_set)
			Day--;
		if (!day_set && month_set && !year_set && !dow_set)
			Month--;
		if (!day_set && !month_set && year_set && !dow_set)
			Year--;
		if (!day_set && !month_set && !year_set && dow_set)
			Dow--;
	}

	if (Dow < 1)
		Dow = 7;
	else if (Dow > 7)
		Dow = 1;
	if (Year < 2000)
		Year = 2999;
	else if (Year > 2999)
		Year = 2000;
	if (Month < 1)
		Month = 12;
	else if (Month > 12)
		Month = 1;
	if (Minute < 0)
		Minute = 59;
	else if (Minute > 59)
		Minute = 0;
	if (Hour < 0)
		Hour = 23;
	else if (Hour > 23)
		Hour = 0;
	if (date_pos < 0)
		date_pos = 0;
	else if (date_pos > 4)
		date_pos = 4;
	if (time_pos < 0)
		time_pos = 0;
	else if (time_pos > 2)
		time_pos = 2;
	if (settings_pos < 0)
		settings_pos = 0;
	else if (settings_pos > 3)
		settings_pos = 3;

	if (Year % 4) {
		switch (Month) {
		case 1:
			if (Day > 31)
				Day = 1;
			else if (Day < 1)
				Day = 31;
			break;
		case 2:
			if (Day > 28)
				Day = 1;
			else if (Day < 1)
				Day = 28;
			break;
		case 3:
			if (Day > 31)
				Day = 1;
			else if (Day < 1)
				Day = 31;
			break;
		case 4:
			if (Day > 30)
				Day = 1;
			else if (Day < 1)
				Day = 30;
			break;
		case 5:
			if (Day > 31)
				Day = 1;
			else if (Day < 1)
				Day = 31;
			break;
		case 6:
			if (Day > 30)
				Day = 1;
			else if (Day < 1)
				Day = 30;
			break;
		case 7:
			if (Day > 31)
				Day = 1;
			else if (Day < 1)
				Day = 31;
			break;
		case 8:
			if (Day > 31)
				Day = 1;
			else if (Day < 1)
				Day = 31;
			break;
		case 9:
			if (Day > 30)
				Day = 1;
			else if (Day < 1)
				Day = 30;
			break;
		case 10:
			if (Day > 31)
				Day = 1;
			else if (Day < 1)
				Day = 31;
			break;
		case 11:
			if (Day > 30)
				Day = 1;
			else if (Day < 1)
				Day = 30;
			break;
		case 12:
			if (Day > 31)
				Day = 1;
			else if (Day < 1)
				Day = 31;
			break;
		}
	}

	else {
		switch (Month) {
		case 1:
			if (Day > 31)
				Day = 1;
			else if (Day < 1)
				Day = 31;
			break;
		case 2:
			if (Day > 29)
				Day = 1;
			else if (Day < 1)
				Day = 29;
			break;
		case 3:
			if (Day > 31)
				Day = 1;
			else if (Day < 1)
				Day = 31;
			break;
		case 4:
			if (Day > 30)
				Day = 1;
			else if (Day < 1)
				Day = 30;
			break;
		case 5:
			if (Day > 31)
				Day = 1;
			else if (Day < 1)
				Day = 31;
			break;
		case 6:
			if (Day > 30)
				Day = 1;
			else if (Day < 1)
				Day = 30;
			break;
		case 7:
			if (Day > 31)
				Day = 1;
			else if (Day < 1)
				Day = 31;
			break;
		case 8:
			if (Day > 31)
				Day = 1;
			else if (Day < 1)
				Day = 31;
			break;
		case 9:
			if (Day > 30)
				Day = 1;
			else if (Day < 1)
				Day = 30;
			break;
		case 10:
			if (Day > 31)
				Day = 1;
			else if (Day < 1)
				Day = 31;
			break;
		case 11:
			if (Day > 30)
				Day = 1;
			else if (Day < 1)
				Day = 30;
			break;
		case 12:
			if (Day > 31)
				Day = 1;
			else if (Day < 1)
				Day = 31;
			break;
		}
	}
}
//display about
void Display_About(void) {
	switch (about_pos) {
	case 0:
		LCD_SetCursor(0, 0);
		LCD_PrintString("Wi-Fi STMeteo by");
		LCD_SetCursor(0, 1);
		LCD_PrintString("Morshu8800 ");
		LCD_PrintMyChar(4);
		LCD_PrintString("2025");
		break;
	case 1:
		LCD_SetCursor(0, 0);
		LCD_PrintString("Version 1.0     ");
		LCD_SetCursor(0, 1);
		LCD_PrintString("Library authors:");
		break;
	case 2:
		LCD_SetCursor(0, 0);
		LCD_PrintString("ST Electronics  ");
		LCD_SetCursor(0, 1);
		LCD_PrintString("K. Golinskiy    ");
		break;
	case 3:
		LCD_SetCursor(0, 0);
		LCD_PrintString("Ilya Prikhodko  ");
		LCD_SetCursor(0, 1);
		LCD_PrintString("Arseniy. Borisov");
		break;
	case 4:
		LCD_SetCursor(0, 0);
		LCD_PrintString("Pan Eepj        ");
		LCD_SetCursor(0, 1);
		LCD_PrintString("Henri Heimann   ");
		break;
	case 5:
		LCD_SetCursor(0, 0);
		LCD_PrintString("https://github  ");
		LCD_SetCursor(0, 1);
		LCD_PrintString(".com/Morshu8800 ");
		break;
	}

}
//controls in about
void About_controls(void) {
	if (READ_BIT(GPIOA->IDR, GPIO_IDR_ID7) == 0 && sleep == false
			&& HAL_GetTick() - button_time > 100) {
		button_time = HAL_GetTick();
		close_men_time = HAL_GetTick();
		about_pos++;

	}
	if (READ_BIT(GPIOB->IDR, GPIO_IDR_ID0) == 0 && sleep == false
			&& HAL_GetTick() - button_time > 100) {
		button_time = HAL_GetTick();
		close_men_time = HAL_GetTick();
		about_pos--;

	}

	if (READ_BIT(GPIOA->IDR, GPIO_IDR_ID0) == 0 && sleep == false
			&& HAL_GetTick() - button_time > 100) {
		button_time = HAL_GetTick();
		close_men_time = HAL_GetTick();
		about = false;
		about_pos = 0;
		HAL_Delay(50);
		LCD_Clear();

	}
	if (about_pos > 5)
		about_pos = 5;
	else if (about_pos < 0)
		about_pos = 0;
}

void Display_Misc(void) {
	switch (misc_pos) {
	case 0:
		LCD_SetCursor(1, 0);
		LCD_PrintString("Wi-Fi  ");
		if (wifi_on) {
			LCD_PrintString("ON      ");
		} else if (!wifi_on) {
			LCD_PrintString("OFF     ");
		}
		LCD_SetCursor(1, 1);
		LCD_PrintString("Factory Reset");
		LCD_SetCursor(0, 0);
		LCD_SendByte(126, 1);
		LCD_SetCursor(0, 1);
		LCD_PrintString(" ");
		break;
	case 1:
		LCD_SetCursor(0, 1);
		LCD_SendByte(126, 1);
		LCD_SetCursor(0, 0);
		LCD_PrintString(" ");
		LCD_SetCursor(1, 0);
		LCD_PrintString("Wi-Fi  ");
		if (wifi_on) {
			LCD_PrintString("ON      ");
		} else if (!wifi_on) {
			LCD_PrintString("OFF     ");
		}
		LCD_SetCursor(1, 1);
		LCD_PrintString("Factory Reset");
		break;
	case 2:
		LCD_SetCursor(0, 1);
		LCD_SendByte(126, 1);
		LCD_SetCursor(0, 0);
		LCD_PrintString(" ");
		LCD_SetCursor(1, 0);
		LCD_PrintString("Factory Reset");
		LCD_SetCursor(1, 1);
		LCD_PrintString("Back         ");
		break;
	}
}

void Misc_controls(void) {
	if (READ_BIT(GPIOA->IDR, GPIO_IDR_ID7) == 0 && sleep == false
			&& HAL_GetTick() - button_time > 100) {
		button_time = HAL_GetTick();
		close_men_time = HAL_GetTick();
		misc_pos++;

	}
	if (READ_BIT(GPIOB->IDR, GPIO_IDR_ID0) == 0 && sleep == false
			&& HAL_GetTick() - button_time > 100) {
		button_time = HAL_GetTick();
		close_men_time = HAL_GetTick();
		misc_pos--;

	}

	if (READ_BIT(GPIOA->IDR, GPIO_IDR_ID0) == 0 && sleep == false
			&& HAL_GetTick() - button_time > 100) {
		button_time = HAL_GetTick();
		close_men_time = HAL_GetTick();
		switch (misc_pos) {
		case 0:
			wifi_on = !wifi_on;
			if (wifi_on)
				GPIOA->BSRR = GPIO_BSRR_BS5;
			else if (!wifi_on)
				GPIOA->BSRR = GPIO_BSRR_BR5;
			break;
		case 1:
			DS3231_SetFullTime(22, 0, 0);
			DS3231_SetFullDate(25, 3, 2, 2025);
			DS3231_EnableOscillator(DS3231_ENABLED);
			NVIC_SystemReset();
			break;
		case 2:
			misc = false;
			misc_pos = 0;
			HAL_Delay(50);
			LCD_Clear();
			break;
		}
	}
	if (misc_pos > 2)
		misc_pos = 2;
	else if (misc_pos < 0)
		misc_pos = 0;
}
/* USER CODE END 0 */

int main(void) {

	/* MCU Configuration--------------------------------------------------------*/

	/* Reset of all peripherals, Initializes the Flash interface and the Systick. */
	HAL_Init();

	/* USER CODE BEGIN SysInit */
	CMSIS_Clock_Config();
	//SystemClock_Config();
	/* USER CODE END SysInit */

	/* Initialize all configured peripherals */
	MX_GPIO_Init();
	MX_I2C1_Init();
	MX_I2C2_Init();
	/* USER CODE BEGIN 2 */
	CMSIS_USART_Init();
	CMSIS_TIM2_CH2_Init();
	CMSIS_TIM3_CH1_Init();
	//NVIC_EnableIRQ(USART2_IRQn);//enable USART2 IRQ
	Startup();
	change_page_time = Sleep_time = button_time = led_con_time =
			led_connected_time = HAL_GetTick();
	//HAL_UART_Transmit(&huart2, (uint8_t*)CON_MESS, strlen(CON_MESS), 10);
	//__HAL_UART_CLEAR_IDLEFLAG(&huart2);
	//DS3231_SetHour(19);
	/* USER CODE END 2 */

	/* Infinite loop */
	/* USER CODE BEGIN WHILE */
	while (1) {
		// while (HAL_GetTick() - Sleep_time <= 35000) {
		while (!menu) {
			/*if (clear_flag) {
			 LCD_Clear();
			 clear_flag = false;
			 }*/
//			HAL_UARTEx_ReceiveToIdle_IT(&huart2, (uint8_t*) GET_COMAND,
//					sizeof(GET_COMAND));
			Check_Mes();
			Check_Con();
			Backlight_change();
			if (HAL_GetTick() - change_page_time >= 10000) {
				change_page_time = HAL_GetTick();
				main_page++;
				newmin = -1;
				if (main_page > 2) {
					main_page = 0;
				}
				LCD_Clear();
			}
			switch (main_page) {
			case 0:
				Print_Time();
				break;
			case 1:
				Print_Date();
				break;
			case 2:
				Print_Meteo();
				break;
			}
			Controls();
		}
		while (menu) {
			//GPIOA->BSRR = GPIO_BSRR_BR1;
			/*if (clear_flag) {
			 LCD_Clear();
			 clear_flag = false;
			 }*/
			if (menu && !time_settings && !about && !misc) {
				Display_menu();
				Menu_Controls();
				if (HAL_GetTick() - close_men_time >= 60000) {
					close_men_time = HAL_GetTick();
					backl_time = HAL_GetTick();
					change_page_time = HAL_GetTick();
					menu = false;
					menu_pos = 0;
					//HAL_Delay(50);
					LCD_Clear();
				}
			}
			if (menu && time_settings && !about && !misc) {
				Display_Settings();
				Settings_Controls();
				if (HAL_GetTick() - close_men_time >= 60000) {
					close_men_time = HAL_GetTick();
					time_settings = false;
					settings_pos = 0;
					time_pos = 0;
					date_pos = 0;
					date_set = time_set = hour_set = minute_set = day_set =
							month_set = year_set = dow_set = false;
					HAL_Delay(50);
					LCD_Clear();
				}
			}
			if (menu && !time_settings && about && !misc) {
				Display_About();
				About_controls();
				if (HAL_GetTick() - close_men_time >= 60000) {
					close_men_time = HAL_GetTick();
					about = false;
					about_pos = 0;
					HAL_Delay(50);
					LCD_Clear();
				}
			}
			if (menu && !time_settings && !about && misc) {
				Display_Misc();
				Misc_controls();
				if (HAL_GetTick() - close_men_time >= 60000) {
					close_men_time = HAL_GetTick();
					misc = false;
					misc_pos = 0;
					HAL_Delay(50);
					LCD_Clear();
				}
			}
			/*HAL_UARTEx_ReceiveToIdle_IT(&huart2, (uint8_t*) GET_COMAND,
			 sizeof(GET_COMAND));*/
			Check_Mes();
			Check_Con();

		}

		//		}
		/*LCD_Clear();
		 Sleep();*/
		/* USER CODE END WHILE */

		/* USER CODE BEGIN 3 */
	}
	return 0;
	/* USER CODE END 3 */
}

void SystemClock_Config(void) {
	RCC_OscInitTypeDef RCC_OscInitStruct = { 0 };
	RCC_ClkInitTypeDef RCC_ClkInitStruct = { 0 };

	/** Configure the main internal regulator output voltage
	 */
	HAL_PWREx_ControlVoltageScaling(PWR_REGULATOR_VOLTAGE_SCALE1);

	/** Initializes the RCC Oscillators according to the specified parameters
	 * in the RCC_OscInitTypeDef structure.
	 */
	RCC_OscInitStruct.OscillatorType = RCC_OSCILLATORTYPE_HSI;
	RCC_OscInitStruct.HSIState = RCC_HSI_ON;
	RCC_OscInitStruct.HSIDiv = RCC_HSI_DIV1;
	RCC_OscInitStruct.HSICalibrationValue = RCC_HSICALIBRATION_DEFAULT;
	RCC_OscInitStruct.PLL.PLLState = RCC_PLL_NONE;
	if (HAL_RCC_OscConfig(&RCC_OscInitStruct) != HAL_OK) {
		Error_Handler();
	}

	/** Initializes the CPU, AHB and APB buses clocks
	 */
	RCC_ClkInitStruct.ClockType = RCC_CLOCKTYPE_HCLK | RCC_CLOCKTYPE_SYSCLK
			| RCC_CLOCKTYPE_PCLK1;
	RCC_ClkInitStruct.SYSCLKSource = RCC_SYSCLKSOURCE_HSI;
	RCC_ClkInitStruct.AHBCLKDivider = RCC_SYSCLK_DIV1;
	RCC_ClkInitStruct.APB1CLKDivider = RCC_HCLK_DIV1;

	if (HAL_RCC_ClockConfig(&RCC_ClkInitStruct, FLASH_LATENCY_0) != HAL_OK) {
		Error_Handler();
	}
}

static void MX_I2C1_Init(void) {

	hi2c1.Instance = I2C1;
	hi2c1.Init.Timing = 0x00503D58;
	hi2c1.Init.OwnAddress1 = 0;
	hi2c1.Init.AddressingMode = I2C_ADDRESSINGMODE_7BIT;
	hi2c1.Init.DualAddressMode = I2C_DUALADDRESS_DISABLE;
	hi2c1.Init.OwnAddress2 = 0;
	hi2c1.Init.OwnAddress2Masks = I2C_OA2_NOMASK;
	hi2c1.Init.GeneralCallMode = I2C_GENERALCALL_DISABLE;
	hi2c1.Init.NoStretchMode = I2C_NOSTRETCH_DISABLE;
	if (HAL_I2C_Init(&hi2c1) != HAL_OK) {
		Error_Handler();
	}

	/** Configure Analogue filter
	 */
	if (HAL_I2CEx_ConfigAnalogFilter(&hi2c1, I2C_ANALOGFILTER_ENABLE)
			!= HAL_OK) {
		Error_Handler();
	}

	/** Configure Digital filter
	 */
	if (HAL_I2CEx_ConfigDigitalFilter(&hi2c1, 0) != HAL_OK) {
		Error_Handler();
	}

}

static void MX_I2C2_Init(void) {

	hi2c2.Instance = I2C2;
	hi2c2.Init.Timing = 0x00503D58;
	hi2c2.Init.OwnAddress1 = 0;
	hi2c2.Init.AddressingMode = I2C_ADDRESSINGMODE_7BIT;
	hi2c2.Init.DualAddressMode = I2C_DUALADDRESS_DISABLE;
	hi2c2.Init.OwnAddress2 = 0;
	hi2c2.Init.OwnAddress2Masks = I2C_OA2_NOMASK;
	hi2c2.Init.GeneralCallMode = I2C_GENERALCALL_DISABLE;
	hi2c2.Init.NoStretchMode = I2C_NOSTRETCH_DISABLE;
	if (HAL_I2C_Init(&hi2c2) != HAL_OK) {
		Error_Handler();
	}

	/** Configure Analogue filter
	 */
	if (HAL_I2CEx_ConfigAnalogFilter(&hi2c2, I2C_ANALOGFILTER_ENABLE)
			!= HAL_OK) {
		Error_Handler();
	}

	/** Configure Digital filter
	 */
	if (HAL_I2CEx_ConfigDigitalFilter(&hi2c2, 0) != HAL_OK) {
		Error_Handler();
	}

}

static void MX_GPIO_Init(void) {
	GPIO_InitTypeDef GPIO_InitStruct = { 0 };

	/* GPIO Ports Clock Enable */
	__HAL_RCC_GPIOB_CLK_ENABLE();
	__HAL_RCC_GPIOA_CLK_ENABLE();

	/*Configure GPIO pin Output Level */
	HAL_GPIO_WritePin(GPIOA, ESP_RST_Pin | STM_Check_Pin, GPIO_PIN_RESET);

	/*Configure GPIO pins : WAKE_OK_Pin DOWN_Pin */
	GPIO_InitStruct.Pin = WAKE_OK_Pin | DOWN_Pin;
	GPIO_InitStruct.Mode = GPIO_MODE_INPUT;
	GPIO_InitStruct.Pull = GPIO_PULLUP;
	HAL_GPIO_Init(GPIOA, &GPIO_InitStruct);

	/*Configure GPIO pin : ESP_Check_Pin */
	GPIO_InitStruct.Pin = ESP_Check_Pin;
	GPIO_InitStruct.Mode = GPIO_MODE_INPUT;
	GPIO_InitStruct.Pull = GPIO_PULLDOWN;
	HAL_GPIO_Init(ESP_Check_GPIO_Port, &GPIO_InitStruct);

	/*Configure GPIO pin : ESP_RST_Pin */
	GPIO_InitStruct.Pin = ESP_RST_Pin;
	GPIO_InitStruct.Mode = GPIO_MODE_OUTPUT_PP;
	GPIO_InitStruct.Pull = GPIO_PULLDOWN;
	GPIO_InitStruct.Speed = GPIO_SPEED_FREQ_VERY_HIGH;
	HAL_GPIO_Init(ESP_RST_GPIO_Port, &GPIO_InitStruct);

	/*Configure GPIO pin : STM_Check_Pin */
	GPIO_InitStruct.Pin = STM_Check_Pin;
	GPIO_InitStruct.Mode = GPIO_MODE_OUTPUT_PP;
	GPIO_InitStruct.Pull = GPIO_NOPULL;
	GPIO_InitStruct.Speed = GPIO_SPEED_FREQ_VERY_HIGH;
	HAL_GPIO_Init(STM_Check_GPIO_Port, &GPIO_InitStruct);

	/*Configure GPIO pin : UP_Pin */
	GPIO_InitStruct.Pin = UP_Pin;
	GPIO_InitStruct.Mode = GPIO_MODE_INPUT;
	GPIO_InitStruct.Pull = GPIO_PULLUP;
	HAL_GPIO_Init(UP_GPIO_Port, &GPIO_InitStruct);

}

/* USER CODE BEGIN 4 */

/*void HAL_UART_RxCplitCallback(UART_HandleTypeDef *huart) {
 //memcpy(DEB, GET_COMAND, sizeof(DEB));
 if (huart->Instance == USART2){
 if (strcmp(GET_COMAND, "ST\r\n") == 0) {
 con_atempt = true;
 con_rest = false;
 connected = false;
 insettings = false;
 memset(GET_COMAND, 0, sizeof(GET_COMAND));
 }
 if (strcmp(GET_COMAND, "AP\r\n") == 0) {
 insettings = true;
 connected = false;
 con_rest = false;
 memset(GET_COMAND, 0, sizeof(GET_COMAND));
 }
 if (strcmp(GET_COMAND, "CP\r\n") == 0) {
 connected = true;
 insettings = false;
 con_rest = false;
 memset(GET_COMAND, 0, sizeof(GET_COMAND));
 }
 if (strcmp(GET_COMAND, "RS\r\n") == 0) {
 connected = false;
 insettings = false;
 con_rest = true;
 memset(GET_COMAND, 0, sizeof(GET_COMAND));
 }
 if (strcmp(GET_COMAND, "CL\r\n") == 0) {
 connected = false;
 insettings = false;
 con_rest = false;
 memset(GET_COMAND, 0, sizeof(GET_COMAND));
 }
 if (strcmp(GET_COMAND, "GT\r\n") == 0) {
 get_temp = true;
 memset(GET_COMAND, 0, sizeof(GET_COMAND));
 }
 if (strcmp(GET_COMAND, "GH\r\n") == 0) {
 get_humi = true;
 memset(GET_COMAND, 0, sizeof(GET_COMAND));
 }
 if (strcmp(GET_COMAND, "GTARO\r\n") == 0) {
 get_taro = true;
 memset(GET_COMAND, 0, sizeof(GET_COMAND));
 }  НЕВОЗМОЖНО СОЗДАТЬ ПО ПРИЧИНЕ НЕСТАБИЛЬНОСТИ И ВЫСОКОГО ЭНЕРГОПОТРЕБЛЕНИЯ!!!
 if (strcmp(GET_COMAND, "GA\r\n") == 0) {
 get_all = true;
 memset(GET_COMAND, 0, sizeof(GET_COMAND));
 }
 if (strcmp(GET_COMAND, "GP\r\n") == 0) {
 get_pres = true;
 memset(GET_COMAND, 0, sizeof(GET_COMAND));
 } else {
 memset(GET_COMAND, 0, sizeof(GET_COMAND));
 }
 }
 //HAL_UART_Receive_IT(&huart2, (uint8_t*) GET_COMAND, 1);
 }*/
/* USER CODE END 4 */

void Error_Handler(void) {
	__disable_irq();
	while (1) {
	}
}
